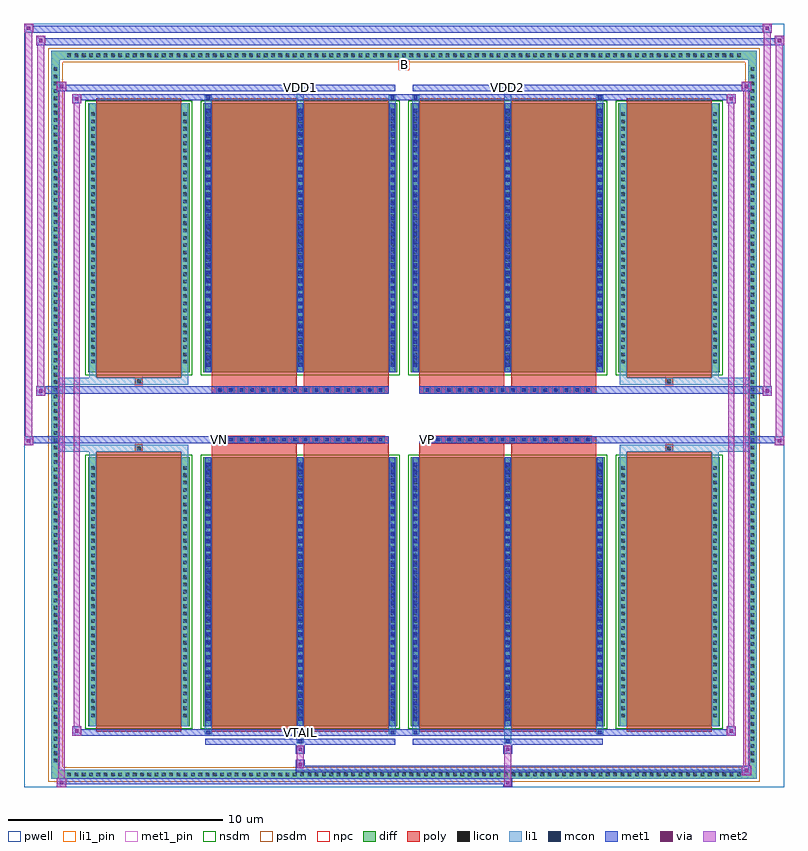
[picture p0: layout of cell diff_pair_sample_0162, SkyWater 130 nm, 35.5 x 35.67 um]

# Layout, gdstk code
import gdstk
lib = gdstk.Library(unit=1e-6, precision=5e-09)
def R(c, l, rs):  # rectangles x0, y0, x1, y1
    for r in rs: c.add(gdstk.rectangle(r[:2], r[2:], *l))
def A(c, l, x, y, w, h, nx, ny, dx, dy):  # array of equal rectangles
    R(c, l, [(x+i*dx, y+j*dy, x+i*dx+w, y+j*dy+h) for i in range(nx) for j in range(ny)])
def P(c, l, *ps):  # polygons
    for p in ps: c.add(gdstk.Polygon(p, *l))
pwell = (64, 44)
diff = (65, 20)
poly = (66, 20)
licon = (66, 44)
li1_pin = (67, 16)
li1 = (67, 20)
mcon = (67, 44)
met1_pin = (68, 16)
met1 = (68, 20)
via = (68, 44)
met2 = (69, 20)
nsdm = (93, 44)
psdm = (94, 20)
npc = (95, 20)

diff_pair_sample_0162 = lib.new_cell('diff_pair_sample_0162')
R(diff_pair_sample_0162, pwell, [(-17.75,-17.4,17.75,18.27), (-15.07,-15.59,-0.01,-0.795), (0.01,-15.59,15.07,-0.795), (-15.07,0.795,-0.01,15.59), (0.01,0.795,15.07,15.59)])
A(diff_pair_sample_0162, diff, -15.845, -17, 0.41, 0.41, 93, 2, 0.34, 33.59)
A(diff_pair_sample_0162, diff, -16.48, -16.355, 0.41, 0.41, 1, 96, 0, 0.34)
A(diff_pair_sample_0162, diff, 16.07, -16.355, 0.41, 0.41, 1, 96, 0, 0.34)
R(diff_pair_sample_0162, diff, [(-15.845,-17,15.845,-16.59), (-16.48,-16.355,-16.07,16.355), (16.07,-16.355,16.48,16.355), (-14.76,-14.545,-10.01,-1.985), (-9.37,-14.545,-0.32,-1.985), (0.32,-14.545,9.37,-1.985), (10.01,-14.545,14.76,-1.985), (-14.76,1.985,-10.01,14.545), (-9.37,1.985,-0.32,14.545), (0.32,1.985,9.37,14.545), (10.01,1.985,14.76,14.545), (-15.845,16.59,15.845,17)])
P(diff_pair_sample_0162, diff, [(16.48,17),(-16.48,17),(-16.48,-16.59),(-16.07,-16.59),(-16.07,16.59),(16.07,16.59),(16.07,-16.59),(-16.07,-16.59),(-16.48,-16.59),(-16.48,-17),(16.48,-17)])
A(diff_pair_sample_0162, poly, -8.76, -1.325, 0.33, 0.33, 16, 2, 0.5, 2.32)
A(diff_pair_sample_0162, poly, 0.93, -1.325, 0.33, 0.33, 16, 2, 0.5, 2.32)
R(diff_pair_sample_0162, poly, [(-14.37,-14.795,-10.4,-1.735), (-8.98,-14.795,-5.01,-1.735), (-4.68,-14.795,-0.71,-1.735), (0.71,-14.795,4.68,-1.735), (5.01,-14.795,8.98,-1.735), (10.4,-14.795,14.37,-1.735), (-12.55,-1.735,-12.22,-1.405), (-12.55,-1.735,-12.22,-1.405), (-8.98,-1.735,-5.01,-1.325), (-4.68,-1.735,-0.71,-1.325), (0.71,-1.735,4.68,-1.325), (5.01,-1.735,8.98,-1.325), (12.22,-1.735,12.55,-1.405), (12.22,-1.735,12.55,-1.405), (-8.98,-1.325,-0.71,-0.995), (0.71,-1.325,8.98,-0.995), (-8.98,0.995,-0.71,1.325), (0.71,0.995,8.98,1.325), (-8.98,1.325,-5.01,1.735), (-4.68,1.325,-0.71,1.735), (0.71,1.325,4.68,1.735), (5.01,1.325,8.98,1.735), (-12.55,1.405,-12.22,1.735), (-12.55,1.405,-12.22,1.735), (12.22,1.405,12.55,1.735), (12.22,1.405,12.55,1.735), (-14.37,1.735,-10.4,14.795), (-8.98,1.735,-5.01,14.795), (-4.68,1.735,-0.71,14.795), (0.71,1.735,4.68,14.795), (5.01,1.735,8.98,14.795), (10.4,1.735,14.37,14.795)])
A(diff_pair_sample_0162, licon, -15.725, -16.88, 0.17, 0.17, 93, 2, 0.34, 33.59)
A(diff_pair_sample_0162, licon, -16.36, -16.235, 0.17, 0.17, 1, 96, 0, 0.34)
A(diff_pair_sample_0162, licon, 16.19, -16.235, 0.17, 0.17, 1, 96, 0, 0.34)
A(diff_pair_sample_0162, licon, -14.62, -14.13, 0.17, 0.17, 1, 35, 0, 0.34)
A(diff_pair_sample_0162, licon, -10.32, -14.13, 0.17, 0.17, 1, 35, 0, 0.34)
A(diff_pair_sample_0162, licon, -9.23, -14.13, 0.17, 0.17, 3, 35, 4.3, 0.34)
A(diff_pair_sample_0162, licon, 0.46, -14.13, 0.17, 0.17, 3, 35, 4.3, 0.34)
A(diff_pair_sample_0162, licon, 10.15, -14.13, 0.17, 0.17, 1, 35, 0, 0.34)
A(diff_pair_sample_0162, licon, 14.45, -14.13, 0.17, 0.17, 1, 35, 0, 0.34)
A(diff_pair_sample_0162, licon, -8.68, -1.245, 0.17, 0.17, 16, 2, 0.5, 2.32)
A(diff_pair_sample_0162, licon, 1.01, -1.245, 0.17, 0.17, 16, 2, 0.5, 2.32)
A(diff_pair_sample_0162, licon, -14.62, 2.4, 0.17, 0.17, 1, 35, 0, 0.34)
A(diff_pair_sample_0162, licon, -10.32, 2.4, 0.17, 0.17, 1, 35, 0, 0.34)
A(diff_pair_sample_0162, licon, -9.23, 2.4, 0.17, 0.17, 3, 35, 4.3, 0.34)
A(diff_pair_sample_0162, licon, 0.46, 2.4, 0.17, 0.17, 3, 35, 4.3, 0.34)
A(diff_pair_sample_0162, licon, 10.15, 2.4, 0.17, 0.17, 1, 35, 0, 0.34)
A(diff_pair_sample_0162, licon, 14.45, 2.4, 0.17, 0.17, 1, 35, 0, 0.34)
R(diff_pair_sample_0162, licon, [(-12.47,-1.655,-12.3,-1.485), (12.3,-1.655,12.47,-1.485), (-12.47,1.485,-12.3,1.655), (12.3,1.485,12.47,1.655)])
R(diff_pair_sample_0162, li1_pin, [(-0.25,16.09,0.25,16.59)])
A(diff_pair_sample_0162, li1, -15.805, -16.96, 0.33, 0.33, 93, 2, 0.34, 33.59)
A(diff_pair_sample_0162, li1, -16.44, -16.315, 0.33, 0.33, 1, 96, 0, 0.34)
A(diff_pair_sample_0162, li1, 16.11, -16.315, 0.33, 0.33, 1, 96, 0, 0.34)
A(diff_pair_sample_0162, li1, -9.31, -14.545, 0.33, 12.56, 3, 2, 4.3, 16.53)
A(diff_pair_sample_0162, li1, 0.38, -14.545, 0.33, 12.56, 3, 2, 4.3, 16.53)
A(diff_pair_sample_0162, li1, -9.23, -14.29, 0.17, 0.17, 3, 34, 4.3, 0.36)
A(diff_pair_sample_0162, li1, -9.23, -14.29, 0.17, 12.05, 3, 2, 4.3, 16.53)
A(diff_pair_sample_0162, li1, 0.46, -14.29, 0.17, 0.17, 3, 34, 4.3, 0.36)
A(diff_pair_sample_0162, li1, 0.46, -14.29, 0.17, 12.05, 3, 2, 4.3, 16.53)
A(diff_pair_sample_0162, li1, -14.7, -14.21, 0.33, 0.33, 1, 35, 0, 0.34)
A(diff_pair_sample_0162, li1, -10.4, -14.21, 0.33, 0.33, 1, 35, 0, 0.34)
A(diff_pair_sample_0162, li1, -9.31, -14.21, 0.33, 0.33, 3, 35, 4.3, 0.34)
A(diff_pair_sample_0162, li1, 0.38, -14.21, 0.33, 0.33, 3, 35, 4.3, 0.34)
A(diff_pair_sample_0162, li1, 10.07, -14.21, 0.33, 0.33, 1, 35, 0, 0.34)
A(diff_pair_sample_0162, li1, 14.37, -14.21, 0.33, 0.33, 1, 35, 0, 0.34)
A(diff_pair_sample_0162, li1, -8.76, -1.325, 0.33, 0.33, 16, 2, 0.5, 2.32)
A(diff_pair_sample_0162, li1, 0.93, -1.325, 0.33, 0.33, 16, 2, 0.5, 2.32)
A(diff_pair_sample_0162, li1, -9.23, 2.24, 0.17, 0.17, 3, 34, 4.3, 0.36)
A(diff_pair_sample_0162, li1, 0.46, 2.24, 0.17, 0.17, 3, 34, 4.3, 0.36)
A(diff_pair_sample_0162, li1, -14.7, 2.32, 0.33, 0.33, 1, 35, 0, 0.34)
A(diff_pair_sample_0162, li1, -10.4, 2.32, 0.33, 0.33, 1, 35, 0, 0.34)
A(diff_pair_sample_0162, li1, -9.31, 2.32, 0.33, 0.33, 3, 35, 4.3, 0.34)
A(diff_pair_sample_0162, li1, 0.38, 2.32, 0.33, 0.33, 3, 35, 4.3, 0.34)
A(diff_pair_sample_0162, li1, 10.07, 2.32, 0.33, 0.33, 1, 35, 0, 0.34)
A(diff_pair_sample_0162, li1, 14.37, 2.32, 0.33, 0.33, 1, 35, 0, 0.34)
R(diff_pair_sample_0162, li1, [(-16.48,-17,-16.07,-16.59), (-16.48,-17,-16.07,-16.59), (-16.07,-17,16.07,-16.59), (16.07,-17,16.48,-16.59), (16.07,-17,16.48,-16.59), (-16.48,-16.59,-16.07,16.59), (16.07,-16.59,16.48,16.59), (-5.01,-15.35,-4.68,-14.545), (-4.93,-15.35,-4.76,-15.18), (4.68,-15.35,5.01,-14.545), (4.76,-15.35,4.93,-15.18), (-9.31,-14.92,-8.98,-14.545), (-9.23,-14.92,-9.06,-14.75), (-0.71,-14.92,-0.38,-14.545), (-0.63,-14.92,-0.46,-14.75), (0.38,-14.92,0.71,-14.545), (0.46,-14.92,0.63,-14.75), (8.98,-14.92,9.31,-14.545), (9.06,-14.92,9.23,-14.75), (-14.7,-14.545,-14.37,-1.985), (-10.4,-14.545,-10.07,-1.985), (10.07,-14.545,10.4,-1.985), (14.37,-14.545,14.7,-1.985), (-14.7,-1.985,-14.37,-1.405), (-10.4,-1.985,-10.07,-1.405), (10.07,-1.985,10.4,-1.405), (14.37,-1.985,14.7,-1.405), (-16.48,-1.735,-12.55,-1.405), (-14.7,-1.735,-12.55,-1.405), (-12.55,-1.735,-12.22,-1.405), (-12.22,-1.735,-10.07,-1.405), (10.07,-1.735,12.22,-1.405), (12.22,-1.735,12.55,-1.405), (12.22,-1.735,16.48,-1.405), (12.55,-1.735,14.7,-1.405), (-16.48,1.405,-12.55,1.735), (-14.7,1.405,-12.55,1.735), (-14.7,1.405,-14.37,1.985), (-12.55,1.405,-12.22,1.735), (-12.22,1.405,-10.07,1.735), (-10.4,1.405,-10.07,1.985), (10.07,1.405,12.22,1.735), (10.07,1.405,10.4,1.985), (12.22,1.405,12.55,1.735), (12.22,1.405,16.48,1.735), (12.55,1.405,14.7,1.735), (14.37,1.405,14.7,1.985), (-14.7,1.985,-14.37,14.545), (-10.4,1.985,-10.07,14.545), (10.07,1.985,10.4,14.545), (14.37,1.985,14.7,14.545), (-9.31,14.545,-8.98,14.92), (-5.01,14.545,-4.68,15.35), (-0.71,14.545,-0.38,14.92), (0.38,14.545,0.71,14.92), (4.68,14.545,5.01,15.35), (8.98,14.545,9.31,14.92), (-9.23,14.75,-9.06,14.92), (-0.63,14.75,-0.46,14.92), (0.46,14.75,0.63,14.92), (9.06,14.75,9.23,14.92), (-4.93,15.18,-4.76,15.35), (4.76,15.18,4.93,15.35), (-16.48,16.59,-16.07,17), (-16.48,16.59,-16.07,17), (-16.07,16.59,16.07,17), (16.07,16.59,16.48,17), (16.07,16.59,16.48,17)])
A(diff_pair_sample_0162, mcon, -9.23, -14.29, 0.17, 0.17, 3, 34, 4.3, 0.36)
A(diff_pair_sample_0162, mcon, 0.46, -14.29, 0.17, 0.17, 3, 34, 4.3, 0.36)
A(diff_pair_sample_0162, mcon, -8.68, -1.245, 0.17, 0.17, 16, 2, 0.5, 2.32)
A(diff_pair_sample_0162, mcon, 1.01, -1.245, 0.17, 0.17, 16, 2, 0.5, 2.32)
A(diff_pair_sample_0162, mcon, -9.23, 2.24, 0.17, 0.17, 3, 34, 4.3, 0.36)
A(diff_pair_sample_0162, mcon, 0.46, 2.24, 0.17, 0.17, 3, 34, 4.3, 0.36)
R(diff_pair_sample_0162, mcon, [(-4.93,-15.35,-4.76,-15.18), (4.76,-15.35,4.93,-15.18), (-9.23,-14.92,-9.06,-14.75), (-0.63,-14.92,-0.46,-14.75), (0.46,-14.92,0.63,-14.75), (9.06,-14.92,9.23,-14.75), (-9.23,14.75,-9.06,14.92), (-0.63,14.75,-0.46,14.92), (0.46,14.75,0.63,14.92), (9.06,14.75,9.23,14.92), (-4.93,15.18,-4.76,15.35), (4.76,15.18,4.93,15.35)])
R(diff_pair_sample_0162, met1_pin, [(-4.98,-14.96,-4.71,-14.69), (-8.73,-1.285,-8.46,-1.015), (0.96,-1.285,1.23,-1.015), (-4.98,15.14,-4.71,15.41), (4.71,15.14,4.98,15.41)])
A(diff_pair_sample_0162, met1, -9.29, -14.545, 0.29, 12.56, 3, 2, 4.3, 16.53)
A(diff_pair_sample_0162, met1, 0.4, -14.545, 0.29, 12.56, 3, 2, 4.3, 16.53)
A(diff_pair_sample_0162, met1, -9.29, -14.35, 0.29, 0.29, 3, 34, 4.3, 0.36)
A(diff_pair_sample_0162, met1, 0.4, -14.35, 0.29, 0.29, 3, 34, 4.3, 0.36)
A(diff_pair_sample_0162, met1, -8.74, -1.305, 0.29, 0.29, 16, 2, 0.5, 2.32)
A(diff_pair_sample_0162, met1, 0.95, -1.305, 0.29, 0.29, 16, 2, 0.5, 2.32)
A(diff_pair_sample_0162, met1, -9.29, 2.18, 0.29, 0.29, 3, 34, 4.3, 0.36)
A(diff_pair_sample_0162, met1, 0.4, 2.18, 0.29, 0.29, 3, 34, 4.3, 0.36)
R(diff_pair_sample_0162, met1, [(-16.21,-17.4,-15.78,-16.97), (4.63,-17.4,5.06,-16.97), (-16.21,-17.26,5.06,-16.97), (15.78,-16.83,16.21,-16.4), (-5.06,-16.69,16.21,-16.4), (-5.06,-16.55,-4.63,-16.12), (-5.06,-15.84,-4.63,-15.41), (4.63,-15.84,5.06,-15.41), (-9.29,-15.41,-0.4,-15.12), (-4.99,-15.41,-4.7,-15.12), (0.4,-15.41,9.29,-15.12), (4.7,-15.41,4.99,-15.12), (-15.5,-14.98,-15.07,-14.55), (-15.5,-14.98,-9.29,-14.69), (-9.29,-14.98,-9,-14.69), (-9.29,-14.98,-0.4,-14.69), (-0.69,-14.98,-0.4,-14.69), (-0.4,-14.98,0.4,-14.69), (0.4,-14.98,0.69,-14.69), (0.4,-14.98,9.29,-14.69), (9,-14.98,9.29,-14.69), (9.29,-14.98,15.5,-14.69), (15.07,-14.98,15.5,-14.55), (-17.75,-1.425,-17.32,-0.995), (17.32,-1.425,17.75,-0.995), (-17.75,-1.325,-0.71,-0.995), (-8.98,-1.325,-0.71,-0.995), (0.71,-1.325,8.98,-0.995), (0.71,-1.325,17.75,-0.995), (-17.18,0.895,-16.75,1.325), (16.75,0.895,17.18,1.325), (-17.18,0.995,-8.98,1.325), (-8.98,0.995,-0.71,1.325), (0.71,0.995,8.98,1.325), (8.98,0.995,17.18,1.325), (-15.5,14.55,-15.07,14.98), (15.07,14.55,15.5,14.98), (-15.5,14.69,-9.29,14.98), (-9.29,14.69,-9,14.98), (-9.29,14.69,-0.4,14.98), (-0.69,14.69,-0.4,14.98), (-0.4,14.69,0.4,14.98), (0.4,14.69,0.69,14.98), (0.4,14.69,9.29,14.98), (9,14.69,9.29,14.98), (9.29,14.69,15.5,14.98), (-16.21,15.12,-15.78,15.55), (-16.21,15.12,-9.29,15.41), (-9.29,15.12,-0.4,15.41), (-4.99,15.12,-4.7,15.41), (0.4,15.12,9.29,15.41), (4.7,15.12,4.99,15.41), (9.29,15.12,16.21,15.41), (15.78,15.12,16.21,15.55), (-17.18,17.27,-16.75,17.7), (-17.18,17.27,-15.07,17.6), (-15.07,17.27,15.07,17.6), (15.07,17.27,17.75,17.6), (17.32,17.27,17.75,17.7), (-17.75,17.84,-17.32,18.27), (-17.75,17.84,-15.07,18.17), (-15.07,17.84,15.07,18.17), (15.07,17.84,17.18,18.17), (16.75,17.84,17.18,18.27)])
R(diff_pair_sample_0162, via, [(-16.07,-17.26,-15.92,-17.11), (4.77,-17.26,4.92,-17.11), (15.92,-16.69,16.07,-16.54), (-4.92,-16.41,-4.77,-16.26), (-4.92,-15.7,-4.77,-15.55), (4.77,-15.7,4.92,-15.55), (-15.36,-14.84,-15.21,-14.69), (15.21,-14.84,15.36,-14.69), (-17.61,-1.285,-17.46,-1.135), (17.46,-1.285,17.61,-1.135), (-17.04,1.035,-16.89,1.185), (16.89,1.035,17.04,1.185), (-15.36,14.69,-15.21,14.84), (15.21,14.69,15.36,14.84), (-16.07,15.26,-15.92,15.41), (15.92,15.26,16.07,15.41), (-17.04,17.41,-16.89,17.56), (17.46,17.41,17.61,17.56), (-17.61,17.98,-17.46,18.13), (16.89,17.98,17.04,18.13)])
R(diff_pair_sample_0162, met2, [(-16.21,-17.4,-15.78,-16.97), (-16.14,-17.4,-15.85,15.55), (-15.85,-17.4,-15.78,-16.97), (-16.16,-17.35,-15.83,-17.02), (4.68,-17.35,5.01,-17.02), (4.68,-17.02,5.01,-15.79), (15.78,-16.83,16.21,-16.4), (15.85,-16.83,16.14,15.55), (16.14,-16.83,16.21,-16.4), (15.83,-16.78,16.16,-16.45), (-5.01,-16.5,-4.68,-16.17), (-5.01,-16.17,-4.68,-15.79), (-5.01,-15.79,-4.68,-15.46), (4.68,-15.79,5.01,-15.46), (-15.5,-14.98,-15.07,-14.55), (-15.43,-14.98,-15.14,14.98), (-15.14,-14.98,-15.07,-14.55), (15.07,-14.98,15.5,-14.55), (15.14,-14.98,15.43,14.98), (15.43,-14.98,15.5,-14.55), (-15.45,-14.93,-15.12,-14.6), (15.12,-14.93,15.45,-14.6), (-17.75,-1.425,-17.32,-0.995), (-17.7,-1.425,-17.37,18.27), (-17.37,-1.425,-17.32,-0.995), (17.32,-1.425,17.75,-0.995), (17.37,-1.425,17.7,17.7), (17.7,-1.425,17.75,-0.995), (-17.7,-1.375,-17.37,-1.045), (17.37,-1.375,17.7,-1.045), (-17.18,0.895,-16.75,1.325), (-17.13,0.895,-16.8,17.7), (-16.8,0.895,-16.75,1.325), (16.75,0.895,17.18,1.325), (16.8,0.895,17.13,18.27), (17.13,0.895,17.18,1.325), (-17.13,0.945,-16.8,1.275), (16.8,0.945,17.13,1.275), (-15.5,14.55,-15.07,14.98), (-15.14,14.55,-15.07,14.98), (15.07,14.55,15.5,14.98), (15.43,14.55,15.5,14.98), (-15.45,14.6,-15.12,14.93), (15.12,14.6,15.45,14.93), (-16.21,15.12,-15.78,15.55), (-15.85,15.12,-15.78,15.55), (15.78,15.12,16.21,15.55), (16.14,15.12,16.21,15.55), (-16.16,15.17,-15.83,15.5), (15.83,15.17,16.16,15.5), (-17.18,17.27,-16.75,17.7), (-16.8,17.27,-16.75,17.7), (17.32,17.27,17.75,17.7), (17.7,17.27,17.75,17.7), (-17.13,17.32,-16.8,17.65), (17.37,17.32,17.7,17.65), (-17.75,17.84,-17.32,18.27), (-17.37,17.84,-17.32,18.27), (16.75,17.84,17.18,18.27), (17.13,17.84,17.18,18.27), (-17.7,17.89,-17.37,18.22), (16.8,17.89,17.13,18.22)])
R(diff_pair_sample_0162, nsdm, [(-14.89,-14.675,-9.88,-1.855), (-9.5,-14.675,-0.19,-1.855), (0.19,-14.675,9.5,-1.855), (9.88,-14.675,14.89,-1.855), (-14.89,1.855,-9.88,14.675), (-9.5,1.855,-0.19,14.675), (0.19,1.855,9.5,14.675), (9.88,1.855,14.89,14.675)])
P(diff_pair_sample_0162, psdm, [(16.61,17.13),(-16.61,17.13),(-16.61,-16.46),(-15.94,-16.46),(-15.94,16.46),(15.94,16.46),(15.94,-16.46),(-15.94,-16.46),(-16.61,-16.46),(-16.61,-17.13),(16.61,-17.13)])
A(diff_pair_sample_0162, npc, -8.78, -1.345, 0.37, 0.37, 16, 2, 0.5, 2.32)
A(diff_pair_sample_0162, npc, 0.91, -1.345, 0.37, 0.37, 16, 2, 0.5, 2.32)
R(diff_pair_sample_0162, npc, [(-12.57,-1.755,-12.2,-1.385), (12.2,-1.755,12.57,-1.385), (-8.78,-1.345,-7.91,-0.975), (-8.78,-1.345,-7.91,-0.975), (-8.28,-1.345,-7.41,-0.975), (-8.28,-1.345,-7.41,-0.975), (-7.78,-1.345,-6.91,-0.975), (-7.78,-1.345,-6.91,-0.975), (-7.28,-1.345,-6.41,-0.975), (-7.28,-1.345,-6.41,-0.975), (-6.78,-1.345,-5.91,-0.975), (-6.78,-1.345,-5.91,-0.975), (-6.28,-1.345,-5.41,-0.975), (-6.28,-1.345,-5.41,-0.975), (-5.78,-1.345,-4.91,-0.975), (-5.78,-1.345,-4.91,-0.975), (-5.28,-1.345,-4.41,-0.975), (-5.28,-1.345,-4.41,-0.975), (-4.78,-1.345,-3.91,-0.975), (-4.78,-1.345,-3.91,-0.975), (-4.28,-1.345,-3.41,-0.975), (-4.28,-1.345,-3.41,-0.975), (-3.78,-1.345,-2.91,-0.975), (-3.78,-1.345,-2.91,-0.975), (-3.28,-1.345,-2.41,-0.975), (-3.28,-1.345,-2.41,-0.975), (-2.78,-1.345,-1.91,-0.975), (-2.78,-1.345,-1.91,-0.975), (-2.28,-1.345,-1.41,-0.975), (-2.28,-1.345,-1.41,-0.975), (-1.78,-1.345,-0.91,-0.975), (-1.78,-1.345,-0.91,-0.975), (0.91,-1.345,1.78,-0.975), (0.91,-1.345,1.78,-0.975), (1.41,-1.345,2.28,-0.975), (1.41,-1.345,2.28,-0.975), (1.91,-1.345,2.78,-0.975), (1.91,-1.345,2.78,-0.975), (2.41,-1.345,3.28,-0.975), (2.41,-1.345,3.28,-0.975), (2.91,-1.345,3.78,-0.975), (2.91,-1.345,3.78,-0.975), (3.41,-1.345,4.28,-0.975), (3.41,-1.345,4.28,-0.975), (3.91,-1.345,4.78,-0.975), (3.91,-1.345,4.78,-0.975), (4.41,-1.345,5.28,-0.975), (4.41,-1.345,5.28,-0.975), (4.91,-1.345,5.78,-0.975), (4.91,-1.345,5.78,-0.975), (5.41,-1.345,6.28,-0.975), (5.41,-1.345,6.28,-0.975), (5.91,-1.345,6.78,-0.975), (5.91,-1.345,6.78,-0.975), (6.41,-1.345,7.28,-0.975), (6.41,-1.345,7.28,-0.975), (6.91,-1.345,7.78,-0.975), (6.91,-1.345,7.78,-0.975), (7.41,-1.345,8.28,-0.975), (7.41,-1.345,8.28,-0.975), (7.91,-1.345,8.78,-0.975), (7.91,-1.345,8.78,-0.975), (-8.78,0.975,-7.91,1.345), (-8.78,0.975,-7.91,1.345), (-8.28,0.975,-7.41,1.345), (-8.28,0.975,-7.41,1.345), (-7.78,0.975,-6.91,1.345), (-7.78,0.975,-6.91,1.345), (-7.28,0.975,-6.41,1.345), (-7.28,0.975,-6.41,1.345), (-6.78,0.975,-5.91,1.345), (-6.78,0.975,-5.91,1.345), (-6.28,0.975,-5.41,1.345), (-6.28,0.975,-5.41,1.345), (-5.78,0.975,-4.91,1.345), (-5.78,0.975,-4.91,1.345), (-5.28,0.975,-4.41,1.345), (-5.28,0.975,-4.41,1.345), (-4.78,0.975,-3.91,1.345), (-4.78,0.975,-3.91,1.345), (-4.28,0.975,-3.41,1.345), (-4.28,0.975,-3.41,1.345), (-3.78,0.975,-2.91,1.345), (-3.78,0.975,-2.91,1.345), (-3.28,0.975,-2.41,1.345), (-3.28,0.975,-2.41,1.345), (-2.78,0.975,-1.91,1.345), (-2.78,0.975,-1.91,1.345), (-2.28,0.975,-1.41,1.345), (-2.28,0.975,-1.41,1.345), (-1.78,0.975,-0.91,1.345), (-1.78,0.975,-0.91,1.345), (0.91,0.975,1.78,1.345), (0.91,0.975,1.78,1.345), (1.41,0.975,2.28,1.345), (1.41,0.975,2.28,1.345), (1.91,0.975,2.78,1.345), (1.91,0.975,2.78,1.345), (2.41,0.975,3.28,1.345), (2.41,0.975,3.28,1.345), (2.91,0.975,3.78,1.345), (2.91,0.975,3.78,1.345), (3.41,0.975,4.28,1.345), (3.41,0.975,4.28,1.345), (3.91,0.975,4.78,1.345), (3.91,0.975,4.78,1.345), (4.41,0.975,5.28,1.345), (4.41,0.975,5.28,1.345), (4.91,0.975,5.78,1.345), (4.91,0.975,5.78,1.345), (5.41,0.975,6.28,1.345), (5.41,0.975,6.28,1.345), (5.91,0.975,6.78,1.345), (5.91,0.975,6.78,1.345), (6.41,0.975,7.28,1.345), (6.41,0.975,7.28,1.345), (6.91,0.975,7.78,1.345), (6.91,0.975,7.78,1.345), (7.41,0.975,8.28,1.345), (7.41,0.975,8.28,1.345), (7.91,0.975,8.78,1.345), (7.91,0.975,8.78,1.345), (-12.57,1.385,-12.2,1.755), (12.2,1.385,12.57,1.755)])
diff_pair_sample_0162.add(gdstk.Label('VTAIL', (-4.845,-14.825), layer=68, texttype=5))
diff_pair_sample_0162.add(gdstk.Label('VN', (-8.595,-1.15), layer=68, texttype=5))
diff_pair_sample_0162.add(gdstk.Label('VP', (1.095,-1.15), layer=68, texttype=5))
diff_pair_sample_0162.add(gdstk.Label('B', (0,16.34), layer=67, texttype=5))
diff_pair_sample_0162.add(gdstk.Label('VDD2', (4.845,15.275), layer=68, texttype=5))
diff_pair_sample_0162.add(gdstk.Label('VDD1', (-4.845,15.275), layer=68, texttype=5))

lib.write_gds('diff_pair_sample_0162.gds')
